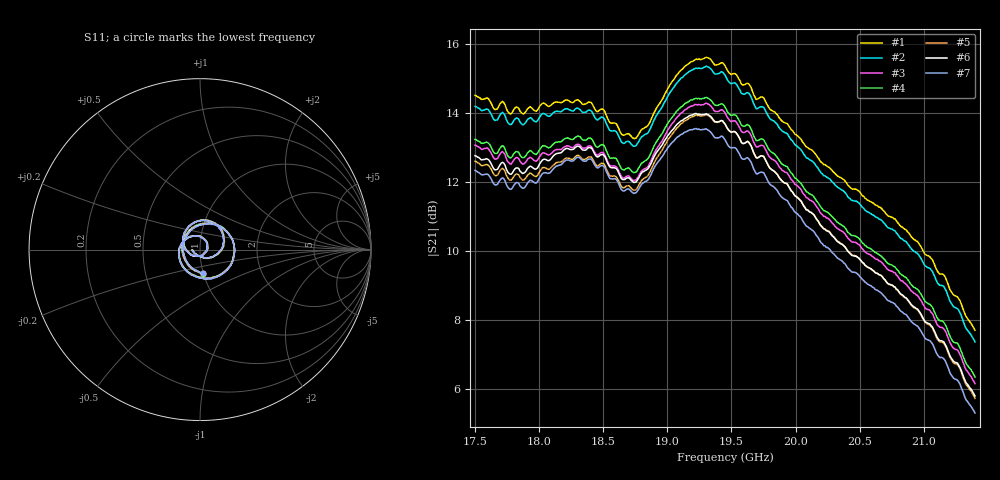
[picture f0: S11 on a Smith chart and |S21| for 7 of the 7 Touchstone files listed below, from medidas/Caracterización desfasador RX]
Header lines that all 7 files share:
!Created with skrf (http://scikit-rf.org).
# GHz S RI R 50.0
!freq ReS11 ImS11 ReS21 ImS21 ReS12 ImS12 ReS22 ImS22
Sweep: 17.5 GHz to 21.4 GHz
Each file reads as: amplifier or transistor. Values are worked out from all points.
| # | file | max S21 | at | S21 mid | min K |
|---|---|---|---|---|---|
| 1 | P3_pha_57.s2p | 15.6 dB | 19.3 GHz | 15.4 dB at 19.45 GHz | 31.37 |
| 2 | P3_pha_58.s2p | 15.4 dB | 19.3 GHz | 15.1 dB at 19.45 GHz | 29.47 |
| 3 | P3_pha_59.s2p | 14.3 dB | 19.3 GHz | 14.0 dB at 19.45 GHz | 39.26 |
| 4 | P3_pha_60.s2p | 14.5 dB | 19.3 GHz | 14.2 dB at 19.45 GHz | 30.16 |
| 5 | P3_pha_61.s2p | 14.0 dB | 19.3 GHz | 13.7 dB at 19.45 GHz | 40.75 |
| 6 | P3_pha_62.s2p | 14.0 dB | 19.23 GHz | 13.7 dB at 19.45 GHz | 42.08 |
| 7 | P3_pha_63.s2p | 13.6 dB | 19.23 GHz | 13.2 dB at 19.45 GHz | 47.14 |
